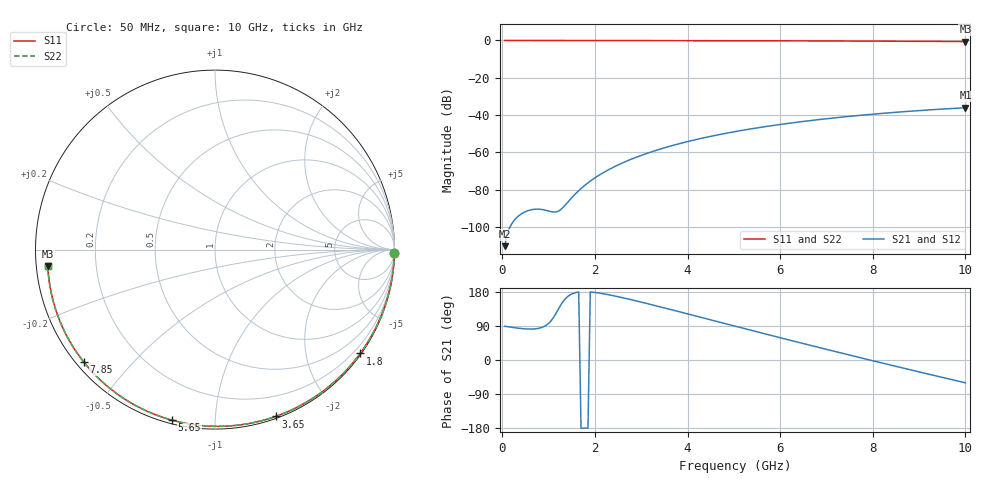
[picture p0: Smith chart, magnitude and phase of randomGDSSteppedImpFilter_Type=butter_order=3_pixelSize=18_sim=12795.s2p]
! freq	dB(S11)	phase(S11)	dB(S12)	phase(S12)
!  dB(S21)	phase(S21)	dB(S22)	phase(S22)
!S-par simulation data
#  GHz  S  DB  R 50
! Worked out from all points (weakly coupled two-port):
!   200 points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, 50 MHz to 10 GHz, reference 50 ohm
!   highest |S21| = -36.08 dB at 10 GHz (marker M1); lowest = -110.3 dB at 50 MHz (marker M2)
!   lowest |S11| = -0.6 dB at 10 GHz (marker M3), VSWR 30.29, Z = 1.65 - j2.44 ohm
!   |S11| at or under -10 dB: nowhere
!   |S22| runs from -0.6 to 0.0 dB; largest |S21 - S12| = 0
!   S11 on the Smith chart (normalised r, x): 50 MHz: open; 1.8 GHz: 0.03, -3.12; 3.65 GHz: 0.02, -1.43; 5.65 GHz: 0.02, -0.78; 7.85 GHz: 0.02, -0.37; 10 GHz: 0.03, -0.05
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0.05  -0.00 -1.0  -110.28 89.0  -110.28 89.0  -0.00 -1.0
0.45  -0.01 -9.0  -92.38 82.6  -92.38 82.6  -0.01 -9.0
0.85  -0.02 -17.0  -90.59 85.8  -90.59 85.8  -0.02 -17.0
1.65  -0.04 -32.7  -80.51 179.4  -80.51 179.4  -0.04 -32.7
1.7  -0.04 -33.6  -79.38 -180.0  -79.38 -180.0  -0.04 -33.6
1.75  -0.04 -34.6  -78.31 -179.7  -78.31 -179.7  -0.04 -34.6
1.8  -0.05 -35.6  -77.29 -179.7  -77.29 -179.7  -0.05 -35.6
2.1  -0.05 -41.3  -72.07 176.5  -72.07 176.5  -0.05 -41.3
2.45  -0.06 -48.0  -67.33 168.4  -67.33 168.4  -0.06 -48.0
2.9  -0.07 -56.3  -62.53 155.7  -62.53 155.7  -0.07 -56.3
3.4  -0.09 -65.5  -58.30 140.6  -58.30 140.6  -0.09 -65.5
3.65  -0.09 -70.0  -56.49 132.8  -56.49 132.8  -0.09 -70.0
4.35  -0.12 -82.3  -52.19 110.7  -52.19 110.7  -0.12 -82.3
5.05  -0.15 -94.2  -48.76 88.5  -48.76 88.5  -0.15 -94.2
5.65  -0.17 -104.2  -46.30 69.7  -46.30 69.7  -0.17 -104.2
6.15  -0.20 -112.3  -44.53 54.1  -44.53 54.1  -0.20 -112.3
6.7  -0.24 -121.1  -42.81 37.2  -42.81 37.2  -0.24 -121.1
7.3  -0.28 -130.7  -41.18 19.0  -41.18 19.0  -0.28 -130.7
7.85  -0.33 -139.4  -39.86 2.5  -39.86 2.5  -0.33 -139.4
8.35  -0.38 -147.4  -38.80 -12.4  -38.80 -12.4  -0.38 -147.4
9.2  -0.47 -161.1  -37.25 -37.2  -37.25 -37.2  -0.47 -161.1
10  -0.57 -174.4  -36.08 -60.2  -36.08 -60.2  -0.57 -174.4
